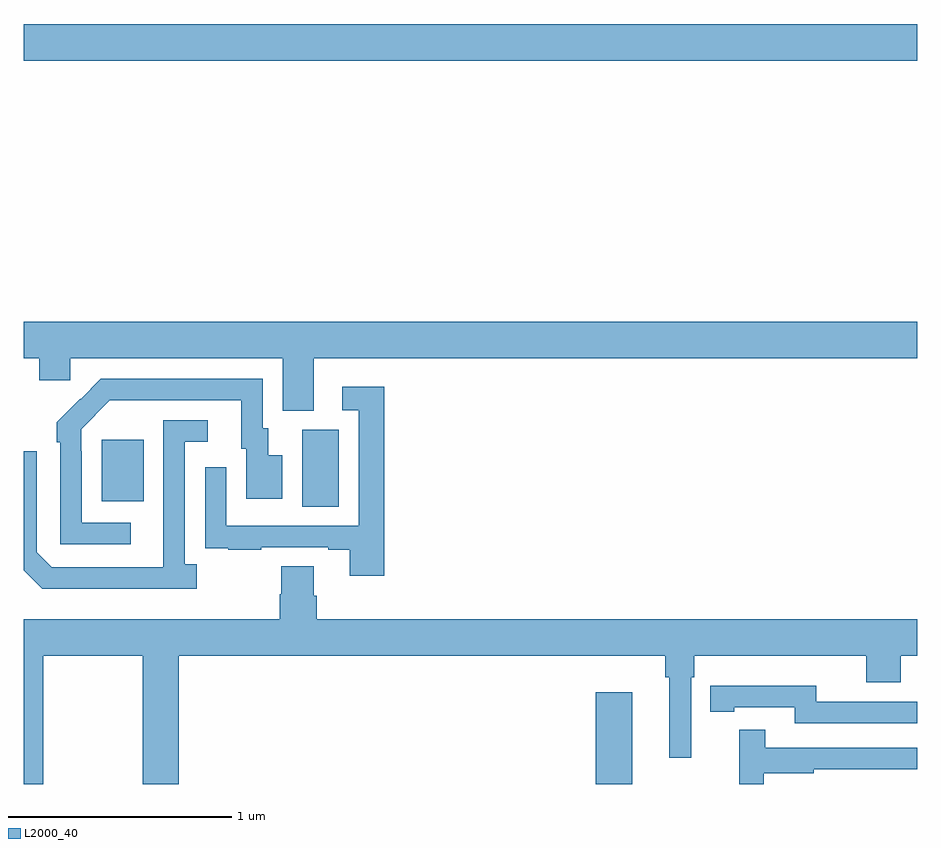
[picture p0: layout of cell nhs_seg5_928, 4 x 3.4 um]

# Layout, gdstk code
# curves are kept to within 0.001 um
import gdstk
lib = gdstk.Library(unit=1e-6, precision=1e-09)
def R(c, l, rs):  # rectangles x0, y0, x1, y1
    for r in rs: c.add(gdstk.rectangle(r[:2], r[2:], *l))
def P(c, l, *ps):  # polygons
    for p in ps: c.add(gdstk.Polygon(p, *l))
L2000_40 = (2000, 40)

nhs_seg5_928 = lib.new_cell('nhs_seg5_928')
R(nhs_seg5_928, L2000_40, [(171.56,910.799,171.724,911.209), (170.246,912.04,170.41,912.384), (169.349,912.065,169.537,912.34), (169,914.036,173,914.2)])
P(nhs_seg5_928, L2000_40, [(169,912.704),(169.07,912.704),(169.07,912.606),(169.209,912.606),(169.209,912.704),(170.159,912.704),(170.159,912.469),(170.299,912.469),(170.299,912.704),(173,912.704),(173,912.868),(169,912.868)],
  [(169.48,911.967),(169.26,911.967),(169.26,912.287),(169.257,912.287),(169.257,912.387),(169.386,912.516),(169.973,912.516),(169.973,912.3),(169.997,912.3),(169.997,912.075),(170.158,912.075),(170.158,912.271),(170.095,912.271),(170.095,912.39),(170.07,912.39),(170.07,912.612),(169.346,912.612),(169.149,912.417),(169.149,912.329),(169.164,912.329),(169.164,911.871),(169.48,911.871)],
  [(170.615,912.577),(170.427,912.577),(170.427,912.471),(170.499,912.471),(170.499,911.955),(169.908,911.955),(169.908,912.217),(169.812,912.217),(169.812,911.962),(169.813,911.962),(169.813,911.853),(169.915,911.853),(169.915,911.847),(170.063,911.847),(170.063,911.859),(170.363,911.859),(170.363,911.847),(170.459,911.847),(170.459,911.73),(170.615,911.73)],
  [(169.774,911.782),(169.722,911.782),(169.722,912.33),(169.825,912.33),(169.825,912.426),(169.626,912.426),(169.625,911.769),(169.125,911.769),(169.059,911.835),(169.059,912.289),(169,912.289),(169,911.756),(169.084,911.672),(169.774,911.672)],
  [(169,910.799),(169.089,910.799),(169.089,911.372),(169.534,911.372),(169.534,910.799),(169.694,910.799),(169.694,911.372),(171.871,911.372),(171.871,911.276),(171.89,911.276),(171.89,910.917),(171.987,910.917),(171.987,911.276),(172.001,911.276),(172.001,911.372),(172.772,911.372),(172.772,911.255),(172.925,911.255),(172.925,911.372),(173,911.372),(173,911.536),(170.312,911.536),(170.312,911.642),(170.299,911.642),(170.299,911.774),(170.152,911.774),(170.152,911.649),(170.147,911.649),(170.147,911.536),(169,911.536)],
  [(173,911.166),(172.548,911.166),(172.548,911.239),(172.18,911.239),(172.18,911.238),(172.072,911.238),(172.072,911.122),(172.18,911.122),(172.18,911.142),(172.452,911.142),(172.452,911.07),(173,911.07)],
  [(172.312,910.846),(172.535,910.846),(172.535,910.866),(173,910.866),(173,910.962),(172.319,910.962),(172.319,911.041),(172.202,911.041),(172.202,910.799),(172.312,910.799)])

lib.write_gds('nhs_seg5_928.gds')
